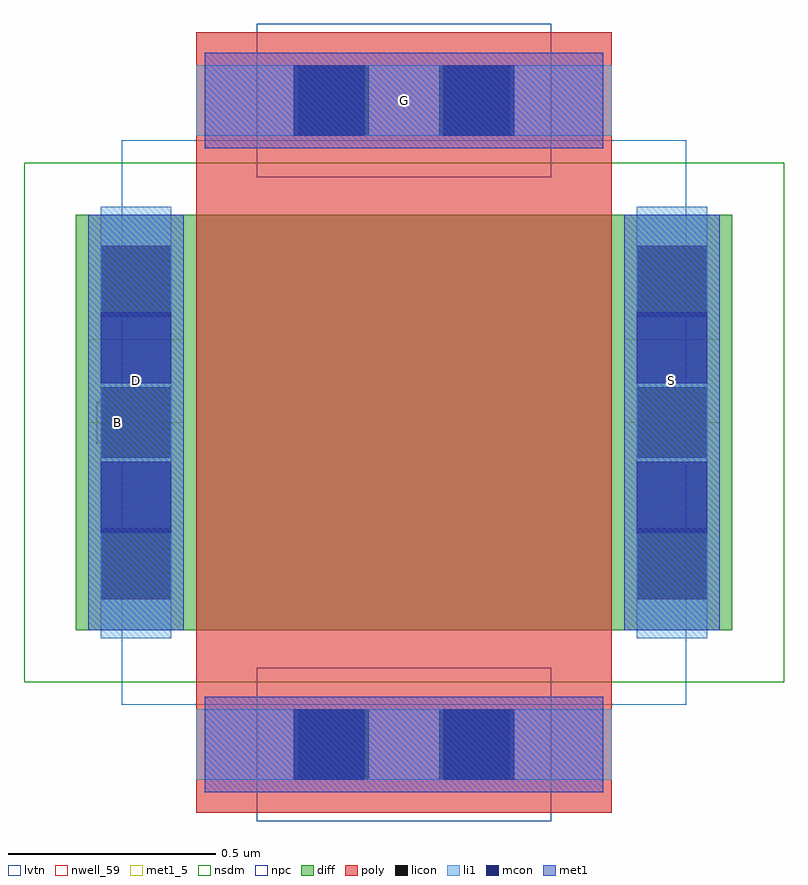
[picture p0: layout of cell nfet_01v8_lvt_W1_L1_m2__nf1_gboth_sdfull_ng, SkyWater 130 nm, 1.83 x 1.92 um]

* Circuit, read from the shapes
.subckt nfet_01v8_lvt_W1_L1_m2__nf1_gboth_sdfull_ng B D G S
XM1 S G D B sky130_fd_pr__nfet_01v8_lvt w=1 l=1
.ends

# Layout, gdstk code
import gdstk
lib = gdstk.Library(unit=1e-6, precision=1e-09)
def R(c, l, rs):  # rectangles x0, y0, x1, y1
    for r in rs: c.add(gdstk.rectangle(r[:2], r[2:], *l))
def A(c, l, x, y, w, h, nx, ny, dx, dy):  # array of equal rectangles
    R(c, l, [(x+i*dx, y+j*dy, x+i*dx+w, y+j*dy+h) for i in range(nx) for j in range(ny)])
nwell_59 = (64, 59)
diff = (65, 20)
poly = (66, 20)
licon = (66, 44)
li1 = (67, 20)
mcon = (67, 44)
met1_5 = (68, 5)
met1 = (68, 20)
nsdm = (93, 44)
npc = (95, 20)
lvtn = (125, 44)

sky130_fd_pr__nfet_01v8_ = lib.new_cell('sky130_fd_pr__nfet_01v8_lvt_YU23CF')
R(sky130_fd_pr__nfet_01v8_, diff, [(-0.79,-0.5,0.79,0.5)])
R(sky130_fd_pr__nfet_01v8_, poly, [(-0.5,-0.94,0.5,0.94)])
A(sky130_fd_pr__nfet_01v8_, licon, -0.73, -0.425, 0.17, 0.17, 1, 3, 0, 0.34)
A(sky130_fd_pr__nfet_01v8_, licon, 0.56, -0.425, 0.17, 0.17, 1, 3, 0, 0.34)
R(sky130_fd_pr__nfet_01v8_, licon, [(-0.255,-0.86,-0.085,-0.69), (0.085,-0.86,0.255,-0.69), (-0.255,0.69,-0.085,0.86), (0.085,0.69,0.255,0.86)])
R(sky130_fd_pr__nfet_01v8_, li1, [(-0.5,-0.86,0.5,-0.69), (-0.73,-0.52,-0.56,0.52), (0.56,-0.52,0.73,0.52), (-0.5,0.69,0.5,0.86)])
R(sky130_fd_pr__nfet_01v8_, mcon, [(-0.265,-0.86,-0.095,-0.69), (0.095,-0.86,0.265,-0.69), (-0.73,-0.265,-0.56,-0.095), (0.56,-0.265,0.73,-0.095), (-0.73,0.095,-0.56,0.265), (0.56,0.095,0.73,0.265), (-0.265,0.69,-0.095,0.86), (0.095,0.69,0.265,0.86)])
R(sky130_fd_pr__nfet_01v8_, met1, [(-0.48,-0.89,0.48,-0.66), (-0.76,-0.5,-0.53,0.5), (0.53,-0.5,0.76,0.5), (-0.48,0.66,0.48,0.89)])
R(sky130_fd_pr__nfet_01v8_, nsdm, [(-0.915,-0.625,0.915,0.625)])
R(sky130_fd_pr__nfet_01v8_, npc, [(-0.355,-0.96,0.355,-0.59), (-0.355,0.59,0.355,0.96)])
R(sky130_fd_pr__nfet_01v8_, lvtn, [(-0.68,-0.68,0.68,0.68)])
sky130_fd_pr__nfet_01v8_.add(gdstk.Label('D', (-0.645,0), layer=67, texttype=5))
sky130_fd_pr__nfet_01v8_.add(gdstk.Label('S', (0.645,0), layer=67, texttype=5))
sky130_fd_pr__nfet_01v8_.add(gdstk.Label('G', (0,0.775), layer=67, texttype=5))

nfet_01v8_lvt_w1_l1_m2__ = lib.new_cell('nfet_01v8_lvt_W1_L1_m2__nf1_gboth_sdfull_ng')
R(nfet_01v8_lvt_w1_l1_m2__, nwell_59, [(0.05,0.89,0.15,0.99)])
R(nfet_01v8_lvt_w1_l1_m2__, met1_5, [(0.03,0.94,0.26,1.14), (1.32,0.94,1.55,1.14), (0.31,1.6,1.27,1.83)])
R(nfet_01v8_lvt_w1_l1_m2__, met1, [(0.03,0.94,0.26,1.14), (1.32,0.94,1.55,1.14), (0.31,1.6,1.27,1.83)])
nfet_01v8_lvt_w1_l1_m2__.add(gdstk.Reference(sky130_fd_pr__nfet_01v8_, (0.79,0.94)))
nfet_01v8_lvt_w1_l1_m2__.add(gdstk.Label('D', (0.145,1.04), layer=68, texttype=5))
nfet_01v8_lvt_w1_l1_m2__.add(gdstk.Label('S', (1.435,1.04), layer=68, texttype=5))
nfet_01v8_lvt_w1_l1_m2__.add(gdstk.Label('G', (0.79,1.715), layer=68, texttype=5))
nfet_01v8_lvt_w1_l1_m2__.add(gdstk.Label('B', (0.1,0.94), layer=64, texttype=59))

lib.write_gds('nfet_01v8_lvt_W1_L1_m2__nf1_gboth_sdfull_ng.gds')
